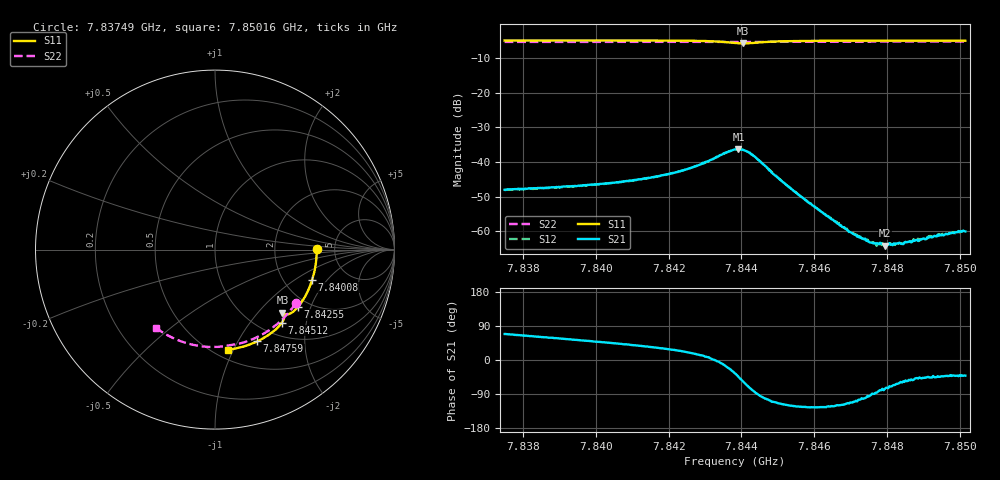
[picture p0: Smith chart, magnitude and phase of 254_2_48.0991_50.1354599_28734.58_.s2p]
#  HZ  S  RI  R  50.00
! Rohde & Schwarz Vector Network Analyzer
! Rohde-Schwarz,ZNB20-2Port,1311601062101988,3.16
! Created: UTC 12/23/2023, 4:00:06 AM
! freq[Hz]  re:S11  im:S11  re:S21  im:S21  re:S12  im:S12  re:S22  im:S22
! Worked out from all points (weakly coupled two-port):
!   401 points, 7.83749 GHz to 7.85016 GHz, reference 50 ohm
!   highest |S21| = -36.22 dB at 7.84392 GHz (marker M1); lowest = -64.2 dB at 7.84794 GHz (marker M2)
!   lowest |S11| = -5.8 dB at 7.84404 GHz (marker M3), VSWR 3.12, Z = 71.8 - j68.4 ohm
!   |S11| at or under -10 dB: nowhere
!   |S22| runs from -5.4 to -5.3 dB; largest |S21 - S12| = 0.00029
!   S11 on the Smith chart (normalised r, x): 7.83749 GHz: 3.61, +0.04; 7.84008 GHz: 2.85, -1.41; 7.84255 GHz: 1.75, -1.63; 7.84512 GHz: 1.24, -1.46; 7.84759 GHz: 0.81, -1.21; 7.85016 GHz: 0.58, -0.95
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7.837485e9  0.5664 0.00377  0.00145 0.00369  0.00148 0.00364  0.4494 -0.2988
7.839608e9  0.5503 -0.1365  0.00282 0.00358  0.00279 0.00355  0.352 -0.4105
7.840083e9  0.5417 -0.1674  0.00321 0.00355  0.00315 0.00352  0.326 -0.4315
7.841731e9  0.4963 -0.2709  0.00534 0.0033  0.00529 0.00331  0.2271 -0.4913
7.842555e9  0.4619 -0.32  0.00759 0.00269  0.00753 0.00275  0.1733 -0.5129
7.843347e9  0.4129 -0.3589  0.0119 -0.000727  0.0119 -0.00065  0.1194 -0.5271
7.843822e9  0.379 -0.3582  0.0124 -0.00881  0.0123 -0.00873  0.0877 -0.5318
7.843917e9  0.3758 -0.3547  0.011 -0.0108  0.011 -0.0107  0.0815 -0.5326
7.844044e9  0.376 -0.3507  0.00811 -0.0124  0.00831 -0.0125  0.0737 -0.5338
7.844171e9  0.3795 -0.3499  0.00505 -0.0131  0.00518 -0.0131  0.0656 -0.5354
7.844361e9  0.3853 -0.356  0.00121 -0.012  0.00129 -0.0119  0.0535 -0.5376
7.845121e9  0.3724 -0.4073  -0.00234 -0.00468  -0.00234 -0.00474  0.000226 -0.5426
7.845945e9  0.3312 -0.451  -0.00136 -0.00195  -0.00139 -0.00198  -0.0579 -0.5404
7.846991e9  0.2719 -0.4923  -0.000368 -0.000902  -0.000362 -0.000924  -0.1305 -0.5287
7.847339e9  0.251 -0.5035  -0.000166 -0.000765  -0.000143 -0.000765  -0.1541 -0.5223
7.847593e9  0.2356 -0.511  1.51e-05 -0.000684  -3.18e-05 -0.000693  -0.1713 -0.517
7.847783e9  0.2239 -0.5164  0.000101 -0.000642  7.47e-05 -0.000636  -0.1839 -0.513
7.847941e9  0.2142 -0.5206  0.000142 -0.000601  0.000141 -0.000637  -0.1943 -0.5091
7.848068e9  0.2063 -0.5238  0.000237 -0.000631  0.000215 -0.000593  -0.2025 -0.5059
7.848448e9  0.1823 -0.5326  0.000362 -0.000542  0.000329 -0.000574  -0.2273 -0.4957
7.849462e9  0.117 -0.5505  0.000639 -0.00062  0.000645 -0.000621  -0.2897 -0.4624
7.850159e9  0.0713 -0.558  0.000748 -0.000655  0.000769 -0.00068  -0.3304 -0.4348
